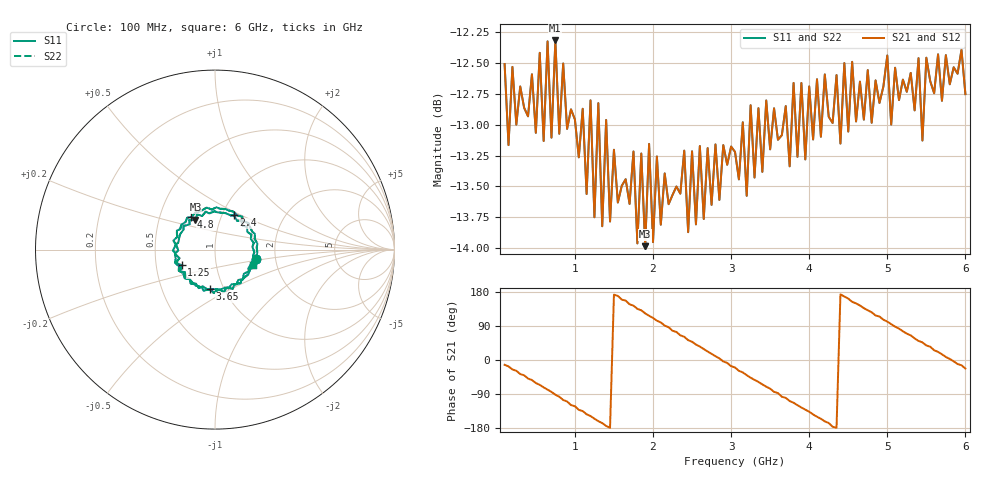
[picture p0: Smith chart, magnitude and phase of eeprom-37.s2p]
! Created with skrf 2.0.0 (http://scikit-rf.org).
# Hz S RI R 50.0
!freq ReS11 ImS11 ReS21 ImS21 ReS12 ImS12 ReS22 ImS22
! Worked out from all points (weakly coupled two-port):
!   119 points, 100 MHz to 6 GHz, reference 50 ohm
!   highest |S21| = -12.32 dB at 750 MHz (marker M1); lowest = -14.0 dB at 1.9 GHz (marker M2)
!   lowest |S11| = -14.0 dB at 1.9 GHz (marker M3), VSWR 1.50, Z = 38.2 + j13.3 ohm
!   |S11| at or under -10 dB: start of sweep to end of sweep
!   |S22| runs from -14.0 to -12.3 dB; largest |S21 - S12| = 0
!   S11 on the Smith chart (normalised r, x): 100 MHz: 1.59, -0.18; 1.25 GHz: 0.68, -0.12; 2.4 GHz: 1.14, +0.46; 3.65 GHz: 0.86, -0.40; 4.8 GHz: 0.72, +0.28; 6 GHz: 1.51, -0.28
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1e8  0.2312 -0.0521  0.2312 -0.0521  0.2312 -0.0521  0.2312 -0.0521
4.5e8  0.1416 -0.1872  0.1416 -0.1872  0.1416 -0.1872  0.1416 -0.1872
7.5e8  -0.00724 -0.2421  -0.00724 -0.2421  -0.00724 -0.2421  -0.00724 -0.2421
1.1e9  -0.16 -0.1614  -0.16 -0.1614  -0.16 -0.1614  -0.16 -0.1614
1.25e9  -0.1861 -0.0869  -0.1861 -0.0869  -0.1861 -0.0869  -0.1861 -0.0869
1.3e9  -0.2165 -0.073  -0.2165 -0.073  -0.2165 -0.073  -0.2165 -0.073
1.35e9  -0.1981 -0.0474  -0.1981 -0.0474  -0.1981 -0.0474  -0.1981 -0.0474
1.5e9  -0.2168 0.0289  -0.2168 0.0289  -0.2168 0.0289  -0.2168 0.0289
1.9e9  -0.1088 0.1677  -0.1088 0.1677  -0.1088 0.1677  -0.1088 0.1677
1.95e9  -0.0986 0.1966  -0.0986 0.1966  -0.0986 0.1966  -0.0986 0.1966
2.1e9  -0.0318 0.2015  -0.0318 0.2015  -0.0318 0.2015  -0.0318 0.2015
2.4e9  0.1053 0.1915  0.1053 0.1915  0.1053 0.1915  0.1053 0.1915
2.7e9  0.2026 0.0833  0.2026 0.0833  0.2026 0.0833  0.2026 0.0833
3.05e9  0.2055 -0.0736  0.2055 -0.0736  0.2055 -0.0736  0.2055 -0.0736
3.35e9  0.1209 -0.1926  0.1209 -0.1926  0.1209 -0.1926  0.1209 -0.1926
3.65e9  -0.0269 -0.2201  -0.0269 -0.2201  -0.0269 -0.2201  -0.0269 -0.2201
4.05e9  -0.178 -0.1307  -0.178 -0.1307  -0.178 -0.1307  -0.178 -0.1307
4.45e9  -0.2316 0.051  -0.2316 0.051  -0.2316 0.051  -0.2316 0.051
4.8e9  -0.1313 0.1819  -0.1313 0.1819  -0.1313 0.1819  -0.1313 0.1819
5.05e9  -0.0174 0.2233  -0.0174 0.2233  -0.0174 0.2233  -0.0174 0.2233
5.5e9  0.187 0.1478  0.187 0.1478  0.187 0.1478  0.187 0.1478
6e9  0.2128 -0.0883  0.2128 -0.0883  0.2128 -0.0883  0.2128 -0.0883
